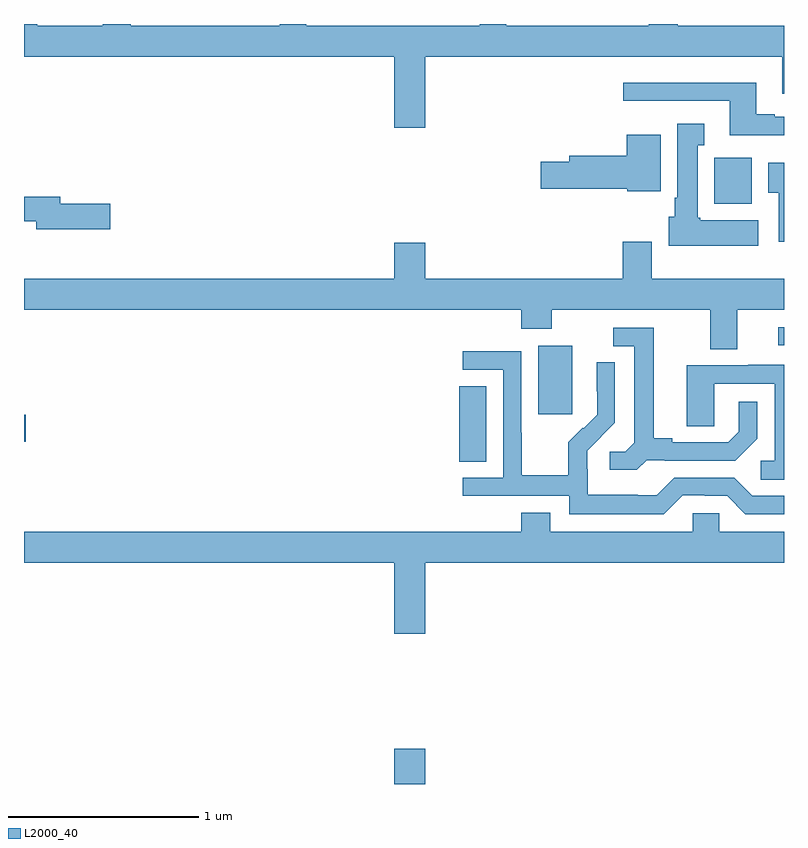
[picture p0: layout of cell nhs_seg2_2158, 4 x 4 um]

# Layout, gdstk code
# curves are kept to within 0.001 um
import gdstk
lib = gdstk.Library(unit=1e-6, precision=1e-09)
def R(c, l, rs):  # rectangles x0, y0, x1, y1
    for r in rs: c.add(gdstk.rectangle(r[:2], r[2:], *l))
def P(c, l, *ps):  # polygons
    for p in ps: c.add(gdstk.Polygon(p, *l))
L2000_40 = (2000, 40)

nhs_seg2_2158 = lib.new_cell('nhs_seg2_2158')
R(nhs_seg2_2158, L2000_40, [(224.948,651.8,225.112,651.985), (225.29,653.497,225.433,653.894), (223,653.602,223.009,653.744), (225.707,653.745,225.886,654.106), (226.971,654.108,227,654.204), (226.634,654.854,226.831,655.096)])
P(nhs_seg2_2158, L2000_40, [(225.112,655.628),(226.991,655.628),(226.991,655.434),(227,655.434),(227,655.792),(226.442,655.792),(226.442,655.8),(226.289,655.8),(226.289,655.792),(225.537,655.792),(225.537,655.8),(225.399,655.8),(225.399,655.792),(224.485,655.792),(224.485,655.8),(224.345,655.8),(224.345,655.792),(223.561,655.792),(223.561,655.8),(223.414,655.8),(223.414,655.792),(223.069,655.792),(223.069,655.8),(223,655.8),(223,655.628),(224.948,655.628),(224.948,655.254),(225.112,655.254)],
  [(227,655.311),(226.951,655.311),(226.951,655.324),(226.855,655.324),(226.855,655.492),(226.155,655.492),(226.155,655.395),(226.715,655.395),(226.715,655.214),(227,655.214)],
  [(226.864,654.766),(226.56,654.766),(226.56,654.78),(226.546,654.78),(226.546,655.163),(226.579,655.163),(226.579,655.276),(226.439,655.276),(226.439,654.886),(226.424,654.886),(226.424,654.786),(226.394,654.786),(226.394,654.632),(226.864,654.632)],
  [(226.351,655.216),(226.172,655.216),(226.172,655.106),(225.869,655.106),(225.869,655.076),(225.72,655.076),(225.72,654.934),(226.176,654.934),(226.176,654.92),(226.351,654.92)],
  [(227,655.069),(226.916,655.069),(226.916,654.913),(226.973,654.913),(226.973,654.654),(227,654.654)],
  [(223.453,654.854),(223.192,654.854),(223.192,654.89),(223,654.89),(223,654.762),(223.064,654.762),(223.064,654.719),(223.453,654.719)],
  [(226.753,654.296),(227,654.296),(227,654.46),(226.303,654.46),(226.303,654.655),(226.151,654.655),(226.151,654.46),(225.112,654.46),(225.112,654.649),(224.948,654.649),(224.948,654.46),(223,654.46),(223,654.296),(225.617,654.296),(225.617,654.197),(225.777,654.197),(225.777,654.296),(226.613,654.296),(226.613,654.088),(226.753,654.088)],
  [(226.278,653.505),(226.372,653.505),(226.372,653.502),(226.744,653.502),(226.86,653.618),(226.86,653.812),(226.763,653.812),(226.763,653.655),(226.706,653.598),(226.411,653.598),(226.411,653.621),(226.315,653.621),(226.315,654.201),(226.101,654.201),(226.101,654.105),(226.211,654.105),(226.211,653.597),(226.164,653.55),(226.083,653.55),(226.083,653.453),(226.226,653.453)],
  [(226.467,653.319),(226.583,653.319),(226.583,653.316),(226.701,653.316),(226.797,653.22),(227,653.22),(227,653.316),(226.833,653.316),(226.737,653.412),(226.422,653.412),(226.329,653.319),(226.229,653.319),(226.229,653.323),(225.966,653.323),(225.966,653.457),(225.964,653.457),(225.964,653.554),(226.11,653.702),(226.11,654.02),(226.014,654.02),(226.014,653.866),(226.016,653.866),(226.016,653.744),(225.945,653.673),(225.942,653.676),(225.865,653.599),(225.865,653.425),(225.621,653.425),(225.621,653.648),(225.618,653.648),(225.618,654.078),(225.309,654.078),(225.309,653.979),(225.522,653.979),(225.522,653.412),(225.309,653.412),(225.309,653.316),(225.87,653.316),(225.87,653.219),(226.367,653.219)],
  [(227,654.007),(226.811,654.007),(226.811,654.003),(226.487,654.003),(226.487,653.683),(226.632,653.683),(226.632,653.907),(226.95,653.907),(226.95,653.502),(226.878,653.502),(226.878,653.401),(227,653.401)],
  [(225.112,652.964),(227,652.964),(227,653.128),(226.659,653.128),(226.659,653.226),(226.521,653.226),(226.521,653.128),(225.769,653.128),(225.769,653.227),(225.617,653.227),(225.617,653.128),(223,653.128),(223,652.964),(224.948,652.964),(224.948,652.59),(225.112,652.59)])

lib.write_gds('nhs_seg2_2158.gds')
